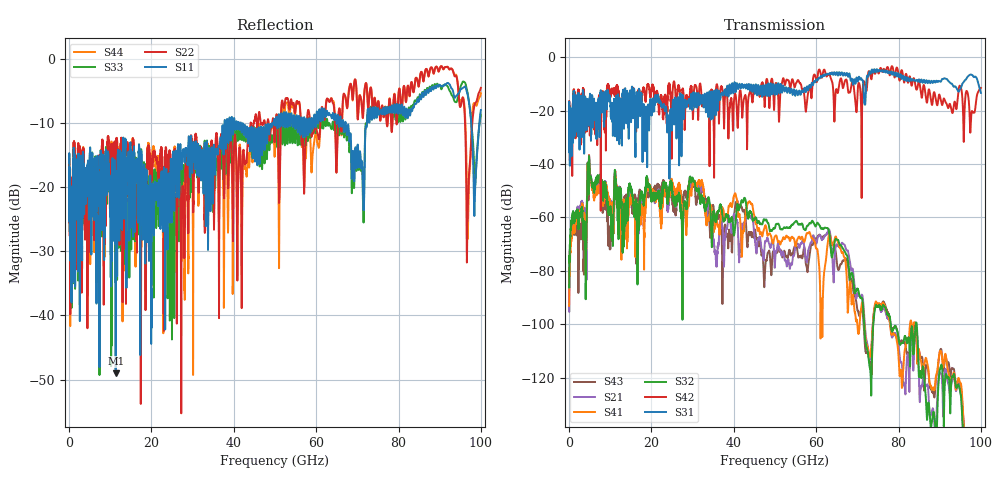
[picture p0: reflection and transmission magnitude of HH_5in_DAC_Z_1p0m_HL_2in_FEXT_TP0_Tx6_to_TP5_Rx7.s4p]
# GHz S RI R 45
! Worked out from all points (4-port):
!   4000 points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, 25 MHz to 100 GHz, reference 45 ohm
!   strongest paths, dB at 25 MHz, 25.02 GHz, 50.02 GHz, 75.03 GHz, 100 GHz:
!     S31: -19.0, -25.5, -12.7, -5.4, -13.3
!     S42: -18.8, -19.7, -11.3, -5.7, -11.5
!     S32: -85.4, -50.1, -63.9, -93.5, -180.6
!     S41: -93.1, -47.0, -67.1, -92.7, -180.9
!     S21: -91.3, -49.4, -76.8, -93.5, -178.2
!     S43: -89.3, -52.1, -74.3, -92.9, -192.5
!   lowest |S11| = -49.0 dB at 11.32 GHz (marker M1), VSWR 1.01, Z = 45.2 - j0.204 ohm
!   |S11| at or under -10 dB: start of sweep to 37.74 GHz; 41.72 GHz to 49.7 GHz (7.977 GHz wide, 17.5 % of centre); 67.18 GHz to 72.34 GHz (5.156 GHz wide, 7.39 % of centre)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
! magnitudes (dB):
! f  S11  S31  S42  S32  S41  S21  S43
! 25 MHz  -16.2  -19.0  -18.8  -85.4  -93.1  -91.3  -89.3
! 4.925 GHz  -20.0  -19.8  -18.8  -39.2  -39.0  -38.7  -39.7
! 9.95 GHz  -19.5  -15.6  -15.1  -56.1  -53.5  -53.2  -67.6
! 11.32 GHz  -49.0  -21.7  -14.0  -45.7  -44.9  -44.5  -46.3
! 91.65 GHz  -3.9  -8.1  -17.4  -119.1  -113.8  -119.0  -113.4
! 96.88 GHz  -5.9  -7.2  -14.1  -141.7  -142.7  -139.6  -145.4
! 100 GHz  -8.0  -13.3  -11.5  -180.6  -180.9  -178.2  -192.5
